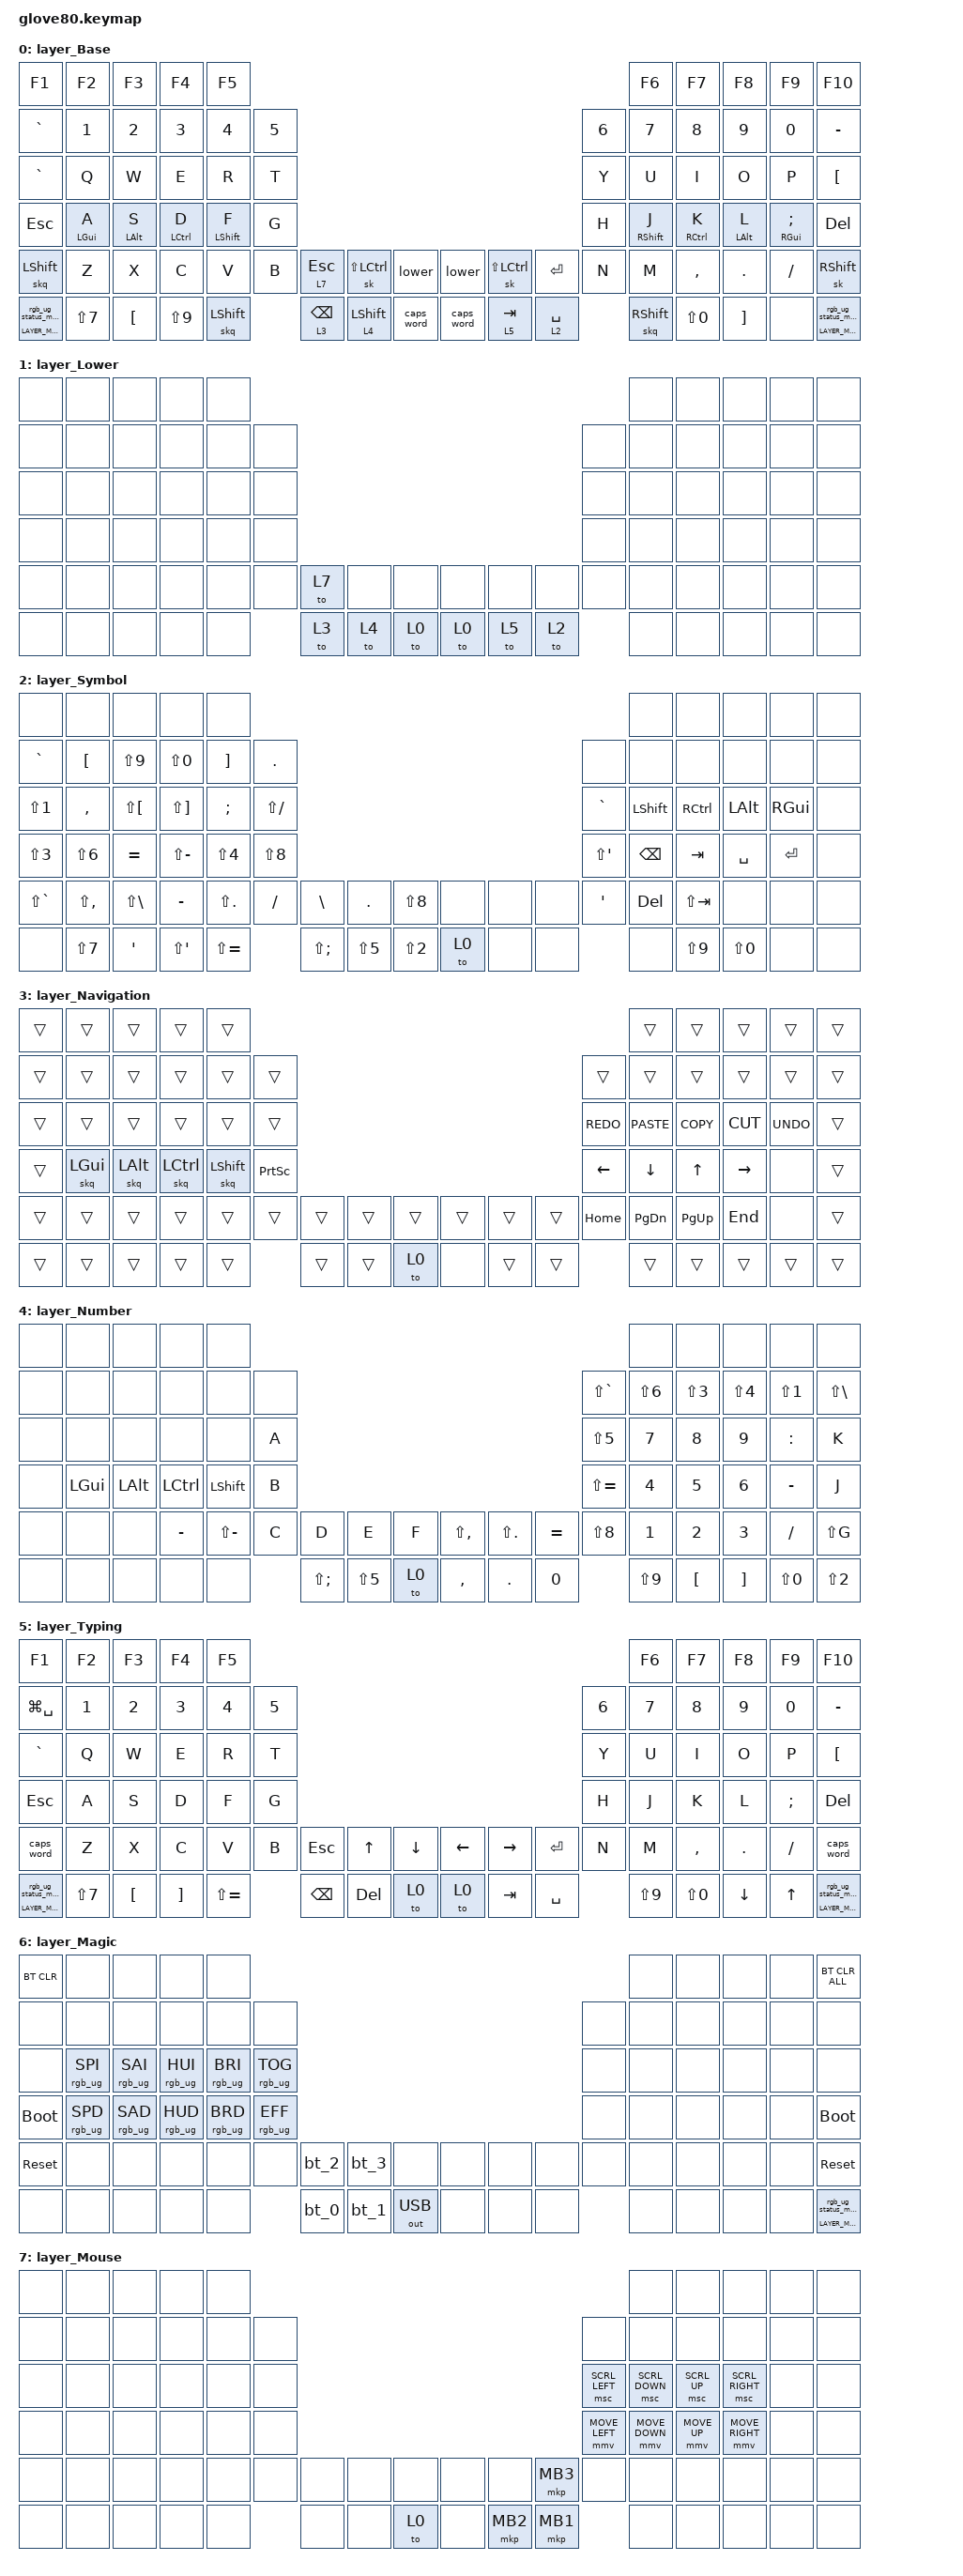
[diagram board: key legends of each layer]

/*
 * Copyright (c) 2020 The ZMK Contributors
 * Copyright (c) 2023 Innaworks Development Limited, trading as MoErgo
 *
 * SPDX-License-Identifier: MIT
 */


/* THIS FILE WAS GENERATED BY GLOVE80 LAYOUT EDITOR
 *
 * This file was generated automatically. You may or may not want to
 * edit it directly.
 */

#include <behaviors.dtsi>
/* Include all behavior includes needed */
#include <dt-bindings/zmk/outputs.h>
#include <dt-bindings/zmk/keys.h>
#include <dt-bindings/zmk/bt.h>
#include <dt-bindings/zmk/rgb.h>

/* On demand includes */
#include <dt-bindings/zmk/pointing.h>

/* Automatically generated layer name #define */
#define LAYER_Base 0
#define LAYER_Lower 1
#define LAYER_Symbol 2
#define LAYER_Navigation 3
#define LAYER_Number 4
#define LAYER_Typing 5
#define LAYER_Magic 6
#define LAYER_Mouse 7

/* To deal with the situation where there is no Lower layer, to keep &lower happy */
#ifndef LAYER_Lower
#define LAYER_Lower 0
#endif

/* Custom Device-tree */



/* Glove80 system behavior & macros */
/ {
    behaviors {
        // For the "layer" key, it'd nice to be able to use it as either a shift or a toggle.
        // Configure it as a tap dance, so the first tap (or hold) is a &mo and the second tap is a &to
        lower: lower {
            compatible = "zmk,behavior-tap-dance";
            label = "LAYER_TAP_DANCE";
            #binding-cells = <0>;
            tapping-term-ms = <200>;
            bindings = <&mo LAYER_Lower>, <&to LAYER_Lower>;
        };
    };
};

/ {
    macros {
        rgb_ug_status_macro: rgb_ug_status_macro {
            label = "RGB_UG_STATUS";
            compatible = "zmk,behavior-macro";
            #binding-cells = <0>;
            bindings
                = <&rgb_ug RGB_STATUS>;
        };
    };
};


/ {
#ifdef BT_DISC_CMD
    behaviors {
        bt_0: bt_0 {
            compatible = "zmk,behavior-tap-dance";
            label = "BT_0";
            #binding-cells = <0>;
            tapping-term-ms = <200>;
            bindings = <&bt_select_0>, <&bt BT_DISC 0>;
        };
        bt_1: bt_1 {
            compatible = "zmk,behavior-tap-dance";
            label = "BT_1";
            #binding-cells = <0>;
            tapping-term-ms = <200>;
            bindings = <&bt_select_1>, <&bt BT_DISC 1>;
        };
        bt_2: bt_2 {
            compatible = "zmk,behavior-tap-dance";
            label = "BT_2";
            #binding-cells = <0>;
            tapping-term-ms = <200>;
            bindings = <&bt_select_2>, <&bt BT_DISC 2>;
        };
        bt_3: bt_3 {
            compatible = "zmk,behavior-tap-dance";
            label = "BT_3";
            #binding-cells = <0>;
            tapping-term-ms = <200>;
            bindings = <&bt_select_3>, <&bt BT_DISC 3>;
        };
    };
    macros {
        bt_select_0: bt_select_0 {
            label = "BT_SELECT_0";
            compatible = "zmk,behavior-macro";
            #binding-cells = <0>;
            bindings
                = <&out OUT_BLE>,
                  <&bt BT_SEL 0>;
        };
        bt_select_1: bt_select_1 {
            label = "BT_SELECT_1";
            compatible = "zmk,behavior-macro";
            #binding-cells = <0>;
            bindings
                = <&out OUT_BLE>,
                  <&bt BT_SEL 1>;
        };
        bt_select_2: bt_select_2 {
            label = "BT_SELECT_2";
            compatible = "zmk,behavior-macro";
            #binding-cells = <0>;
            bindings
                = <&out OUT_BLE>,
                  <&bt BT_SEL 2>;
        };
        bt_select_3: bt_select_3 {
            label = "BT_SELECT_3";
            compatible = "zmk,behavior-macro";
            #binding-cells = <0>;
            bindings
                = <&out OUT_BLE>,
                  <&bt BT_SEL 3>;
        };
    };
#else
    macros {
        bt_0: bt_0 {
            label = "BT_0";
            compatible = "zmk,behavior-macro";
            #binding-cells = <0>;
            bindings
                = <&out OUT_BLE>,
                  <&bt BT_SEL 0>;
        };
        bt_1: bt_1 {
            label = "BT_1";
            compatible = "zmk,behavior-macro";
            #binding-cells = <0>;
            bindings
                = <&out OUT_BLE>,
                  <&bt BT_SEL 1>;
        };
        bt_2: bt_2 {
            label = "BT_2";
            compatible = "zmk,behavior-macro";
            #binding-cells = <0>;
            bindings
                = <&out OUT_BLE>,
                  <&bt BT_SEL 2>;
        };
        bt_3: bt_3 {
            label = "BT_3";
            compatible = "zmk,behavior-macro";
            #binding-cells = <0>;
            bindings
                = <&out OUT_BLE>,
                  <&bt BT_SEL 3>;
        };
    };
#endif
};

/ {
    behaviors {
        magic: magic {
            compatible = "zmk,behavior-hold-tap";
            label = "MAGIC_HOLD_TAP";
            #binding-cells = <2>;
            flavor = "tap-preferred";
            tapping-term-ms = <200>;
            bindings = <&mo>, <&rgb_ug_status_macro>;
        };
    };
};

/* #define for key positions */
#define POS_LH_T1 52
#define POS_LH_T2 53
#define POS_LH_T3 54
#define POS_LH_T4 69
#define POS_LH_T5 70
#define POS_LH_T6 71
#define POS_LH_C1R2 15
#define POS_LH_C1R3 27
#define POS_LH_C1R4 39
#define POS_LH_C1R5 51
#define POS_LH_C2R1 4
#define POS_LH_C2R2 14
#define POS_LH_C2R3 26
#define POS_LH_C2R4 38
#define POS_LH_C2R5 50
#define POS_LH_C2R6 68
#define POS_LH_C3R1 3
#define POS_LH_C3R2 13
#define POS_LH_C3R3 25
#define POS_LH_C3R4 37
#define POS_LH_C3R5 49
#define POS_LH_C3R6 67
#define POS_LH_C4R1 2
#define POS_LH_C4R2 12
#define POS_LH_C4R3 24
#define POS_LH_C4R4 36
#define POS_LH_C4R5 48
#define POS_LH_C4R6 66
#define POS_LH_C5R1 1
#define POS_LH_C5R2 11
#define POS_LH_C5R3 23
#define POS_LH_C5R4 35
#define POS_LH_C5R5 47
#define POS_LH_C5R6 65
#define POS_LH_C6R1 0
#define POS_LH_C6R2 10
#define POS_LH_C6R3 22
#define POS_LH_C6R4 34
#define POS_LH_C6R5 46
#define POS_LH_C6R6 64
#define POS_RH_T1 57
#define POS_RH_T2 56
#define POS_RH_T3 55
#define POS_RH_T4 74
#define POS_RH_T5 73
#define POS_RH_T6 72
#define POS_RH_C1R2 16
#define POS_RH_C1R3 28
#define POS_RH_C1R4 40
#define POS_RH_C1R5 58
#define POS_RH_C2R1 5
#define POS_RH_C2R2 17
#define POS_RH_C2R3 29
#define POS_RH_C2R4 41
#define POS_RH_C2R5 59
#define POS_RH_C2R6 75
#define POS_RH_C3R1 6
#define POS_RH_C3R2 18
#define POS_RH_C3R3 30
#define POS_RH_C3R4 42
#define POS_RH_C3R5 60
#define POS_RH_C3R6 76
#define POS_RH_C4R1 7
#define POS_RH_C4R2 19
#define POS_RH_C4R3 31
#define POS_RH_C4R4 43
#define POS_RH_C4R5 61
#define POS_RH_C4R6 77
#define POS_RH_C5R1 8
#define POS_RH_C5R2 20
#define POS_RH_C5R3 32
#define POS_RH_C5R4 44
#define POS_RH_C5R5 62
#define POS_RH_C5R6 78
#define POS_RH_C6R1 9
#define POS_RH_C6R2 21
#define POS_RH_C6R3 33
#define POS_RH_C6R4 45
#define POS_RH_C6R5 63
#define POS_RH_C6R6 79

/* Custom Defined Behaviors */
/ {
    //
    // Glove80 key positions index for positional hold-tap
    // - https://discord.com/channels/877392805654306816/937645688244826154/1066713913351221248
    // - https://media.discordapp.net/attachments/937645688244826154/1066713913133121556/image.png
    //
    // |------------------------|------------------------|
    // | LEFT_HAND_KEYS         |        RIGHT_HAND_KEYS |
    // |                        |                        |
    // |  0  1  2  3  4         |          5  6  7  8  9 |
    // | 10 11 12 13 14 15      |      16 17 18 19 20 21 |
    // | 22 23 24 25 26 27      |      28 29 30 31 32 33 |
    // | 34 35 36 37 38 39      |      40 41 42 43 44 45 |
    // | 46 47 48 49 50 51      |      58 59 60 61 62 63 |
    // | 64 65 66 67 68         |         75 76 77 78 79 |
    // |                69 52   |   57 74                |
    // |                 70 53  |  56 73                 |
    // |                  71 54 | 55 72                  |
    // |------------------------|------------------------|
    //
#define LEFT_HAND_KEYS \
          0  1  2  3  4    \
         10 11 12 13 14 15 \
         22 23 24 25 26 27 \
         34 35 36 37 38 39  \
         46 47 48 49 50 51  \
         64 65 66 67 68
#define RIGHT_HAND_KEYS \
              5  6  7  8  9 \
          16 17 18 19 20 21 \
          28 29 30 31 32 33 \
          40 41 42 43 44 45 \
          58 59 60 61 62 63 \
             75 76 77 78 79
#define THUMB_KEYS      \
          69 52       57 74 \
           70 53     56 73  \
            71 54   55 72

behaviors {
    lt {
        flavor = "hold-preferred";
    };
    skq: sticky_key_quick {
        compatible = "zmk,behavior-sticky-key";
        #binding-cells = <1>;
        bindings = <&kp>;
        release-after-ms = <1000>;
        quick-release;
        ignore-modifiers;
    };
    lsd: left_shift_dance {
        compatible = "zmk,behavior-tap-dance";
        #binding-cells = <0>;
        tapping-term-ms = <200>;
        bindings = <&skq LSHIFT>, <&caps_word>;
    };
    rpi: require_prior_idle {
        compatible = "zmk,behavior-hold-tap";
        #binding-cells = <2>;
        flavor = "tap-preferred";
        tapping-term-ms = <200>;
        quick-tap-ms = <250>;
        require-prior-idle-ms = <100>;
        bindings = <&kp>, <&kp>;
    };
    rpil: require_prior_idle_layer {
        compatible = "zmk,behavior-hold-tap";
        #binding-cells = <2>;
        flavor = "tap-preferred";
        tapping-term-ms = <200>;
        quick-tap-ms = <250>;
        require-prior-idle-ms = <100>;
        bindings = <&mo>, <&kp>;
    };
    hrm_left_pinky: hrm_left_pinky {
        compatible = "zmk,behavior-hold-tap";
        flavor = "tap-preferred";
        hold-trigger-key-positions = <RIGHT_HAND_KEYS THUMB_KEYS>;
        hold-trigger-on-release; // wait for other home row mods
        tapping-term-ms = <240>;
        quick-tap-ms = <250>;
        require-prior-idle-ms = <100>;
        #binding-cells = <2>;
        bindings = <&kp>, <&kp>;
    };
    hrm_left_ring: hrm_left_ring {
        compatible = "zmk,behavior-hold-tap";
        flavor = "tap-preferred";
        hold-trigger-key-positions = <RIGHT_HAND_KEYS THUMB_KEYS>;
        hold-trigger-on-release; // wait for other home row mods
        tapping-term-ms = <220>;
        quick-tap-ms = <150>;
        require-prior-idle-ms = <100>;
        #binding-cells = <2>;
        bindings = <&kp>, <&kp>;
    };
    hrm_left_middle: hrm_left_middle {
        compatible = "zmk,behavior-hold-tap";
        flavor = "tap-preferred";
        hold-trigger-key-positions = <RIGHT_HAND_KEYS THUMB_KEYS>;
        hold-trigger-on-release; // wait for other home row mods
        tapping-term-ms = <200>;
        quick-tap-ms = <150>;
        require-prior-idle-ms = <100>;
        #binding-cells = <2>;
        bindings = <&kp>, <&kp>;
    };
    hrm_left_index: hrm_left_index {
        compatible = "zmk,behavior-hold-tap";
        flavor = "tap-preferred";
        hold-trigger-key-positions = <RIGHT_HAND_KEYS THUMB_KEYS>;
        hold-trigger-on-release; // wait for other home row mods
        tapping-term-ms = <180>;
        quick-tap-ms = <150>;
        require-prior-idle-ms = <100>;
        #binding-cells = <2>;
        bindings = <&kp>, <&kp>;
    };

    hrm_right_pinky: hrm_right_pinky {
        compatible = "zmk,behavior-hold-tap";
        flavor = "tap-preferred";
        hold-trigger-key-positions = <LEFT_HAND_KEYS THUMB_KEYS>;
        hold-trigger-on-release; // wait for other home row mods
        tapping-term-ms = <240>;
        quick-tap-ms = <250>;
        require-prior-idle-ms = <100>;
        #binding-cells = <2>;
        bindings = <&kp>, <&kp>;
    };
    hrm_right_ring: hrm_right_ring {
        compatible = "zmk,behavior-hold-tap";
        flavor = "tap-preferred";
        hold-trigger-key-positions = <LEFT_HAND_KEYS THUMB_KEYS>;
        hold-trigger-on-release; // wait for other home row mods
        tapping-term-ms = <220>;
        quick-tap-ms = <150>;
        require-prior-idle-ms = <100>;
        #binding-cells = <2>;
        bindings = <&kp>, <&kp>;
    };
    hrm_right_middle: hrm_right_middle {
        compatible = "zmk,behavior-hold-tap";
        flavor = "tap-preferred";
        hold-trigger-key-positions = <LEFT_HAND_KEYS THUMB_KEYS>;
        hold-trigger-on-release; // wait for other home row mods
        tapping-term-ms = <200>;
        quick-tap-ms = <150>;
        require-prior-idle-ms = <100>;
        #binding-cells = <2>;
        bindings = <&kp>, <&kp>;
    };
    hrm_right_index: hrm_right_index {
        compatible = "zmk,behavior-hold-tap";
        flavor = "tap-preferred";
        hold-trigger-key-positions = <LEFT_HAND_KEYS THUMB_KEYS>;
        hold-trigger-on-release; // wait for other home row mods
        tapping-term-ms = <180>;
        quick-tap-ms = <150>;
        require-prior-idle-ms = <100>;
        #binding-cells = <2>;
        bindings = <&kp>, <&kp>;
    };
    lhrm: homerow_mod_left {
        compatible = "zmk,behavior-hold-tap";
        flavor = "tap-preferred";
        hold-trigger-key-positions = <RIGHT_HAND_KEYS THUMB_KEYS>;
        hold-trigger-on-release; // wait for other home row mods
        tapping-term-ms = <200>;
        quick-tap-ms = <150>;
        require-prior-idle-ms = <40>;
        #binding-cells = <2>;
        bindings = <&kp>, <&kp>;
    };
    rhrm: homerow_mod_right {
        compatible = "zmk,behavior-hold-tap";
        flavor = "tap-preferred";
        hold-trigger-key-positions = <LEFT_HAND_KEYS THUMB_KEYS>;
        hold-trigger-on-release; // wait for other home row mods
        tapping-term-ms = <200>;
        quick-tap-ms = <150>;
        require-prior-idle-ms = <40>;
        #binding-cells = <2>;
        bindings = <&kp>, <&kp>;
    };

    layer_hold_stickytap: layer_hold_stickytap {
        compatible = "zmk,behavior-hold-tap";
        #binding-cells = <2>;
        tapping-term-ms = <150>;
        bindings = <&mo>, <&skq>;
        flavor = "tap-preferred";
        quick-tap-ms = <175>;
    };
};

};

/* Automatically generated macro definitions */
/ {
    macros {

        // Create Å character in a macro using Alt-gr
        ao_macro: ao_macro {
            label = "&AO_MACRO";
            compatible = "zmk,behavior-macro";
            #binding-cells = <0>;
            bindings = <&macro_press>
                , <&kp RALT>
                , <&macro_tap>
                , <&kp A>
                , <&macro_release>
                , <&kp RALT>
                , <&macro_tap>
                , <&kp A>;
        };

        // Create Ä character in a macro using Alt-gr
        ae_macro: ae_macro {
            label = "&AE_MACRO";
            compatible = "zmk,behavior-macro";
            #binding-cells = <0>;
            bindings = <&macro_press>
                , <&kp RALT>
                , <&macro_tap>
                , <&kp A>
                , <&macro_release>
                , <&kp RALT>
                , <&macro_press>
                , <&kp LSHFT>
                , <&macro_tap>
                , <&kp SQT>
                , <&macro_release>
                , <&kp LSHFT>;
        };

        // Create Ö character in a macro using Alt-gr
        oe_macro: oe_macro {
            label = "&OE_MACRO";
            compatible = "zmk,behavior-macro";
            #binding-cells = <0>;
            bindings = <&macro_press>
                , <&kp RALT>
                , <&macro_tap>
                , <&kp O>
                , <&macro_release>
                , <&kp RALT>
                , <&macro_press>
                , <&kp LSHFT>
                , <&macro_tap>
                , <&kp SQT>
                , <&macro_release>
                , <&kp LSHFT>;
        };
    };
};

/* Automatically generated behavior definitions */
/ {
    behaviors {

        // Home row mod hold-tap for left hand
        LEFTHRM: LEFTHRM {
            compatible = "zmk,behavior-hold-tap";
            #binding-cells = <2>;
            tapping-term-ms = <200>;
            bindings = <&kp>, <&kp>;
            flavor = "tap-preferred";
            quick-tap-ms = <175>;
            require-prior-idle-ms = <40>;
            hold-trigger-key-positions = <28 16 17 5 6 7 19 18 29 30 31 21 20 8 9 33 32 45 63 62 78 79 61 59 58 75 60 76 77 73 57 74 56 72 55 40 41 42 43 44>;
            hold-trigger-on-release;
        };

        // Home row mod hold-tap for right hand
        RIGHTHRM: RIGHTHRM {
            compatible = "zmk,behavior-hold-tap";
            #binding-cells = <2>;
            tapping-term-ms = <200>;
            bindings = <&kp>, <&kp>;
            flavor = "tap-preferred";
            quick-tap-ms = <175>;
            require-prior-idle-ms = <40>;
            hold-trigger-key-positions = <54 53 52 69 70 71 68 67 66 65 64 46 47 34 22 23 11 10 0 1 2 3 4 14 13 12 24 25 48 49 50 39 51 27 26 15 35 36 37 38>;
            hold-trigger-on-release;
        };

        // Hold layer tap
        layer_hold_tap: layer_hold_tap {
            compatible = "zmk,behavior-hold-tap";
            #binding-cells = <2>;
            tapping-term-ms = <150>;
            bindings = <&mo>, <&kp>;
            flavor = "tap-preferred";
            quick-tap-ms = <175>;
        };
    };
};

/* Automatically generated combos definitions */
/ {
      combos {
          compatible = "zmk,combos";
                  combo_ao_combo {
            timeout-ms = <45>;
            key-positions = <35 31>;
            bindings = <&ao_macro>;
            layers = <0>;
            require-prior-idle-ms = <50>;
        };

        combo_ae_combo {
            timeout-ms = <45>;
            key-positions = <35 25>;
            bindings = <&ae_macro>;
            layers = <0>;
            require-prior-idle-ms = <50>;
        };

        combo_lbracket_combo {
            timeout-ms = <45>;
            key-positions = <49 50>;
            bindings = <&kp LBKT>;
            require-prior-idle-ms = <50>;
        };

        combo_lparen_combo {
            timeout-ms = <45>;
            key-positions = <37 38>;
            bindings = <&kp LPAR>;
            require-prior-idle-ms = <50>;
        };

        combo_oe_combo {
            timeout-ms = <45>;
            key-positions = <31 25>;
            bindings = <&oe_macro>;
            layers = <0>;
            require-prior-idle-ms = <50>;
        };

        combo_rbracket_combo {
            timeout-ms = <45>;
            key-positions = <60 59>;
            bindings = <&kp RBKT>;
            require-prior-idle-ms = <50>;
        };

        combo_rparen_combo {
            timeout-ms = <45>;
            key-positions = <41 42>;
            bindings = <&kp RPAR>;
            require-prior-idle-ms = <50>;
        };

        combo_caps_lock {
            timeout-ms = <100>;
            key-positions = <71 72>;
            bindings = <&kp CAPSLOCK>;
            require-prior-idle-ms = <50>;
        };
      };
    };

/ {
    keymap {
        compatible = "zmk,keymap";

        layer_Base {
            bindings = <
                &kp F1               &kp F2                 &kp F3                &kp F4                   &kp F5                                                                                                                                                                  &kp F6                   &kp F7                    &kp F8                 &kp F9                     &kp F10
                &kp GRAVE            &kp N1                 &kp N2                &kp N3                   &kp N4                  &kp N5                                                                                                                                   &kp N6 &kp N7                   &kp N8                    &kp N9                 &kp N0                     &kp MINUS
                &kp GRAVE            &kp Q                  &kp W                 &kp E                    &kp R                   &kp T                                                                                                                                    &kp Y  &kp U                    &kp I                     &kp O                  &kp P                      &kp LBKT
                &kp ESC              &hrm_left_pinky LGUI A &hrm_left_ring LALT S &hrm_left_middle LCTRL D &hrm_left_index LSHFT F &kp G                                                                                                                                    &kp H  &hrm_right_index RSHFT J &hrm_right_middle RCTRL K &hrm_right_ring LALT L &hrm_right_pinky RGUI SEMI &kp DEL
                &skq LSHFT           &kp Z                  &kp X                 &kp C                    &kp V                   &kp B   &layer_hold_tap 7 ESC   &sk LS(LCTRL)                  &lower         &lower      &sk LS(LCTRL)          &kp RET                 &kp N  &kp M                    &kp COMMA                 &kp DOT                &kp FSLH                   &sk RSHFT
                &magic LAYER_Magic 0 &kp LS(N7)             &kp LBKT              &kp LS(N9)               &skq LSHIFT                     &layer_hold_tap 3 BSPC  &layer_hold_stickytap 4 LSHFT  &caps_word     &caps_word  &layer_hold_tap 5 TAB  &layer_hold_tap 2 SPACE        &skq RSHIFT              &kp LS(N0)                &kp RBKT               &none                      &magic LAYER_Magic 0
            >;
        };

        layer_Lower {
            bindings = <
                &none   &none   &none   &none   &none                                                                   &none   &none   &none   &none   &none
                &none   &none   &none   &none   &none   &none                                                   &none   &none   &none   &none   &none   &none
                &none   &none   &none   &none   &none   &none                                                   &none   &none   &none   &none   &none   &none
                &none   &none   &none   &none   &none   &none                                                   &none   &none   &none   &none   &none   &none
                &none   &none   &none   &none   &none   &none   &to 7   &none   &none   &none   &none   &none   &none   &none   &none   &none   &none   &none
                &none   &none   &none   &none   &none           &to 3   &to 4   &to 0   &to 0   &to 5   &to 2           &none   &none   &none   &none   &none
            >;
        };

        layer_Symbol {
            bindings = <
                &none         &none         &none          &none         &none                                                                                                &none     &none       &none      &none    &none
                &kp GRAVE     &kp LBKT      &kp LS(N9)     &kp LS(N0)    &kp RBKT      &kp DOT                                                                    &none       &none     &none       &none      &none    &none
                &kp LS(N1)    &kp COMMA     &kp LS(LBKT)   &kp LS(RBKT)  &kp SEMI      &kp LS(FSLH)                                                               &kp GRAVE   &kp LSHFT &kp RCTRL   &kp LALT   &kp RGUI &none
                &kp LS(N3)    &kp LS(N6)    &kp EQUAL      &kp LS(MINUS) &kp LS(N4)    &kp LS(N8)                                                                 &kp LS(SQT) &kp BSPC  &kp TAB     &kp SPACE  &kp RET  &none
                &kp LS(GRAVE) &kp LS(COMMA) &kp LS(BSLH)   &kp MINUS     &kp LS(DOT)   &kp FSLH       &kp BSLH     &kp DOT    &kp LS(N8)   &none   &none   &none  &kp SQT     &kp DEL   &kp LS(TAB) &none      &none    &none
                &none         &kp LS(N7)    &kp SQT        &kp LS(SQT)   &kp LS(EQUAL)                &kp LS(SEMI) &kp LS(N5) &kp LS(N2)   &to 0   &none   &none              &none     &kp LS(N9)  &kp LS(N0) &none    &none
            >;
        };

        layer_Navigation {
            bindings = <
                &trans &trans    &trans    &trans     &trans                                                                          &trans      &trans     &trans    &trans     &trans
                &trans &trans    &trans    &trans     &trans      &trans                                                   &trans     &trans      &trans     &trans    &trans     &trans
                &trans &trans    &trans    &trans     &trans      &trans                                                   &kp K_REDO &kp K_PASTE &kp K_COPY &kp K_CUT &kp K_UNDO &trans
                &trans &skq LGUI &skq LALT &skq LCTRL &skq LSHIFT &kp PSCRN                                                &kp LEFT   &kp DOWN    &kp UP     &kp RIGHT &none      &trans
                &trans &trans    &trans    &trans     &trans      &trans    &trans  &trans  &trans  &trans  &trans  &trans &kp HOME   &kp PG_DN   &kp PG_UP  &kp END   &none      &trans
                &trans &trans    &trans    &trans     &trans                &trans  &trans   &to 0   &none  &trans  &trans            &trans      &trans     &trans    &trans     &trans
            >;
        };

        layer_Number {
            bindings = <
                &none     &none     &none      &none          &none                                                                                                       &none       &none       &none       &none         &none
                &none     &none     &none      &none          &none   &none                                                                           &kp LS(GRAVE)  &kp LS(N6)  &kp LS(N3)  &kp LS(N4)  &kp LS(N1)  &kp LS(BSLH)
                &none     &none     &none      &none          &none   &kp A                                                                              &kp LS(N5)      &kp N7      &kp N8      &kp N9   &kp COLON         &kp K
                &none  &kp LGUI  &kp LALT  &kp LCTRL      &kp LSHFT   &kp B                                                                           &kp LS(EQUAL)      &kp N4      &kp N5      &kp N6   &kp MINUS         &kp J
                &none     &none     &none  &kp MINUS  &kp LS(MINUS)   &kp C         &kp D       &kp E   &kp F  &kp LS(COMMA)  &kp LS(DOT)  &kp EQUAL     &kp LS(N8)      &kp N1      &kp N2      &kp N3    &kp FSLH     &kp LS(G)
                &none     &none     &none      &none          &none          &kp LS(SEMI)  &kp LS(N5)   &to 0      &kp COMMA      &kp DOT     &kp N0                 &kp LS(N9)    &kp LBKT    &kp RBKT  &kp LS(N0)    &kp LS(N2)
            >;
        };

        layer_Typing {
            bindings = <
                &kp F1               &kp F2     &kp F3    &kp F4    &kp F5                                                                                    &kp F6     &kp F7    &kp F8  &kp F9   &kp F10
                &kp LG(SPACE)        &kp N1     &kp N2    &kp N3    &kp N4        &kp N5                                                          &kp N6      &kp N7     &kp N8    &kp N9  &kp N0   &kp MINUS
                &kp GRAVE            &kp Q      &kp W     &kp E     &kp R         &kp T                                                           &kp Y       &kp U      &kp I     &kp O   &kp P    &kp LBKT
                &kp ESC              &kp A      &kp S     &kp D     &kp F         &kp G                                                           &kp H       &kp J      &kp K     &kp L   &kp SEMI &kp DEL
                &caps_word           &kp Z      &kp X     &kp C     &kp V         &kp B    &kp ESC  &kp UP  &kp DOWN &kp LEFT &kp RIGHT &kp RET   &kp N       &kp M      &kp COMMA &kp DOT &kp FSLH &caps_word
                &magic LAYER_Magic 0 &kp LS(N7) &kp LBKT  &kp RBKT  &kp LS(EQUAL)          &kp BSPC &kp DEL &to 0    &to 0    &kp TAB   &kp SPACE &kp LS(N9)  &kp LS(N0) &kp DOWN  &kp UP  &magic LAYER_Magic 0
            >;
        };

        layer_Magic {
            bindings = <
                &bt BT_CLR  &none            &none            &none            &none                                                                                         &none   &none   &none   &none &bt BT_CLR_ALL
                &none       &none            &none            &none            &none            &none                                                                &none   &none   &none   &none   &none &none
                &none       &rgb_ug RGB_SPI  &rgb_ug RGB_SAI  &rgb_ug RGB_HUI  &rgb_ug RGB_BRI  &rgb_ug RGB_TOG                                                      &none   &none   &none   &none   &none &none
                &bootloader &rgb_ug RGB_SPD  &rgb_ug RGB_SAD  &rgb_ug RGB_HUD  &rgb_ug RGB_BRD  &rgb_ug RGB_EFF                                                      &none   &none   &none   &none   &none &bootloader
                &sys_reset  &none            &none            &none            &none            &none           &bt_2   &bt_3         &none   &none   &none   &none  &none   &none   &none   &none   &none &sys_reset
                &none       &none            &none            &none            &none                            &bt_0   &bt_1  &out OUT_USB   &none   &none   &none          &none   &none   &none   &none &magic LAYER_Magic 0
            >;
        };

        layer_Mouse {
            bindings = <
                &none   &none   &none   &none   &none                                                                                       &none         &none            &none   &none   &none
                &none   &none   &none   &none   &none   &none                                                               &none           &none         &none            &none   &none   &none
                &none   &none   &none   &none   &none   &none                                                      &msc SCRL_LEFT  &msc SCRL_DOWN  &msc SCRL_UP  &msc SCRL_RIGHT   &none   &none
                &none   &none   &none   &none   &none   &none                                                      &mmv MOVE_LEFT  &mmv MOVE_DOWN  &mmv MOVE_UP  &mmv MOVE_RIGHT   &none   &none
                &none   &none   &none   &none   &none   &none   &none   &none   &none   &none     &none  &mkp MB3           &none           &none         &none            &none   &none   &none
                &none   &none   &none   &none   &none           &none   &none   &to 0   &none  &mkp MB2  &mkp MB1                           &none         &none            &none   &none   &none
            >;
        };

    };
};
